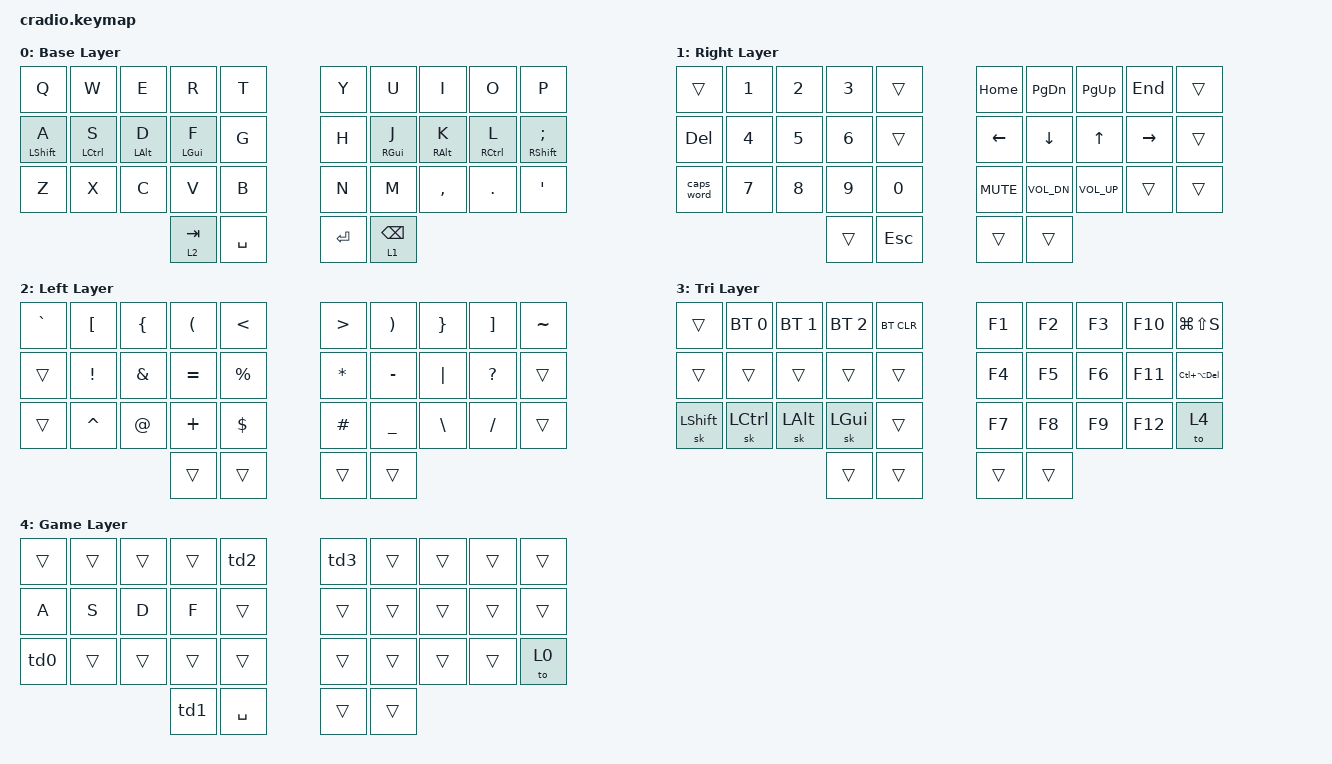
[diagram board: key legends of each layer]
// Copyright (c) 2022 The ZMK Contributors
// SPDX-License-Identifier: MIT

#include <behaviors.dtsi>
#include <dt-bindings/zmk/keys.h>
#include <dt-bindings/zmk/bt.h>

&caps_word {
    continue-list = <UNDERSCORE MINUS BACKSPACE DELETE>;
};

&lt {
    tapping-term-ms = <175>;
    quick-tap-ms = <225>;
    require-prior-idle-ms = <100>;
};

/ {
    behaviors {
        ht: hold_tap {
            compatible = "zmk,behavior-hold-tap";
            #binding-cells = <2>;
            flavor = "tap-preferred";
            tapping-term-ms = <175>;
            quick-tap-ms = <225>;
            require-prior-idle-ms = <125>;
            bindings = <&kp>, <&kp>;
        };
        td0: tap_dance_0 {
            compatible = "zmk,behavior-tap-dance";
            #binding-cells = <0>;
            bindings = <&kp LSHFT>, <&kp Z>;
        };
        td1: tap_dance_1 {
            compatible = "zmk,behavior-tap-dance";
            #binding-cells = <0>;
            bindings = <&kp LCTRL>, <&kp LALT>;
        };
        td2: tap_dance_2 {
            compatible = "zmk,behavior-tap-dance";
            #binding-cells = <0>;
            bindings = <&kp ESC>, <&kp T>;
        };
        td3: tap_dance_3 {
            compatible = "zmk,behavior-tap-dance";
            #binding-cells = <0>;
            bindings = <&mc_home>, <&kp Y>;
        };
    };

    conditional_layers {
        compatible = "zmk,conditional-layers";
        tri_layer {
            if-layers = <1 2>;
            then-layer = <3>;
        };
    };
    
    macros {
        mc_home: minecraft_home {
            compatible = "zmk,behavior-macro";
            #binding-cells = <0>;
            bindings = <&macro_tap &kp T &kp FSLH &kp H &kp O &kp M &kp E &kp ENTER>;
        };
    };

    keymap {
        compatible = "zmk,keymap";
        base_layer {
            display-name = "Base Layer";
            bindings = <
        //╭─────────────┬─────────────┬────────────┬────────────┬───────────╮   ╭───────────┬───────────────┬────────────┬─────────────┬────────────────╮
        //│ Q           │ W           │ E          │ R          │ T         │   │ Y         │ U             │ I          │ O           │ P              │
            &kp Q         &kp W         &kp E        &kp R        &kp T           &kp Y       &kp U           &kp I        &kp O         &kp P
        //├─────────────┼─────────────┼────────────┼────────────┼───────────┤   ├───────────┼───────────────┼────────────┼─────────────┼────────────────┤
        //│ A (Shift)   │ S (Ctrl)    │ D (Alt)    │ F (Super)  │ G         │   │ H         │ J (Super)     │ K (Alt)    │ L (Ctrl)    │ ; : (Shift)    │
            &ht LSHFT A   &ht LCTRL S   &ht LALT D   &ht LGUI F   &kp G           &kp H       &ht RGUI J      &ht RALT K   &ht RCTRL L   &ht RSHFT SEMI
        //├─────────────┼─────────────┼────────────┼────────────┼───────────┤   ├───────────┼───────────────┼────────────┼─────────────┼────────────────┤
        //│ Z           │ X           │ C          │ V          │ B         │   │ N         │ M             │ , <        │ . >         │ ' "            │
            &kp Z         &kp X         &kp C        &kp V        &kp B           &kp N       &kp M           &kp COMMA    &kp DOT       &kp SQT
        //╰─────────────┴─────────────┴────────────┼────────────┼───────────┤   ├───────────┼───────────────┼────────────┴─────────────┴────────────────╯
        //                                         │ Tab (2)    │ Space     │   │ Enter     │ Backspace (1) │
                                                     &lt 2 TAB    &kp SPACE       &kp ENTER   &lt 1 BSPC
        //                                         ╰────────────┴───────────╯   ╰───────────┴───────────────╯
            >;
        };

        right_layer {
            display-name = "Right Layer";
            bindings = <
        //╭────────────┬──────────┬──────────┬──────────┬──────────╮   ╭────────────┬──────────────┬──────────────┬───────────┬────────╮
        //│            │ 1        │ 2        │ 3        │          │   │ Home       │ Pg Dn        │ Pg Up        │ End       │        │
            &trans       &kp N1     &kp N2     &kp N3     &trans         &kp HOME     &kp PG_DN      &kp PG_UP      &kp END     &trans
        //├────────────┼──────────┼──────────┼──────────┼──────────┤   ├────────────┼──────────────┼──────────────┼───────────┼────────┤
        //│ Delete     │ 4        │ 5        │ 6        │          │   │ Left       │ Down         │ Up           │ Right     │        │
            &kp DEL      &kp N4     &kp N5     &kp N6     &trans         &kp LEFT     &kp DOWN       &kp UP         &kp RIGHT   &trans
        //├────────────┼──────────┼──────────┼──────────┼──────────┤   ├────────────┼──────────────┼──────────────┼───────────┼────────┤
        //│ Caps       │ 7        │ 8        │ 9        │ 0        │   │ Mute       │ Vol Down     │ Vol Up       │           │        │
            &caps_word   &kp N7     &kp N8     &kp N9     &kp N0         &kp C_MUTE   &kp C_VOL_DN   &kp C_VOL_UP   &trans      &trans
        //╰────────────┴──────────┴──────────┼──────────┼──────────┤   ├────────────┼──────────────┼──────────────┴───────────┴────────╯
        //                                   │          │ Escape   │   │            │              │
                                               &trans     &kp ESC        &trans       &trans
        //                                   ╰──────────┴──────────╯   ╰────────────┴──────────────╯
            >;
        };
        
        left_layer {
            display-name = "Left Layer";
            bindings = <
        //╭───────────┬───────────┬──────────┬───────────┬───────────╮   ╭───────────┬───────────┬──────────┬───────────┬───────────╮
        //│ `         │ [         │ {        │ (         │ <         │   │ >         │ )         │ }        │ ]         │ ~         │
            &kp GRAVE   &kp LBKT    &kp LBRC   &kp LPAR    &kp LT          &kp GT      &kp RPAR    &kp RBRC   &kp RBKT    &kp TILDE
        //├───────────┼───────────┼──────────┼───────────┼───────────┤   ├───────────┼───────────┼──────────┼───────────┼───────────┤
        //│           │ !         │ &        │ =         │ %         │   │ *         │ -         │ |        │ ?         │           │
            &trans      &kp EXCL    &kp AMPS   &kp EQUAL   &kp PRCNT       &kp ASTRK   &kp MINUS   &kp PIPE   &kp QMARK   &trans
        //├───────────┼───────────┼──────────┼───────────┼───────────┤   ├───────────┼───────────┼──────────┼───────────┼───────────┤
        //│           │ ^         │ @        │ +         │ $         │   │ #         │ _         │ \        │ /         │           │
            &trans      &kp CARET   &kp AT     &kp PLUS    &kp DLLR        &kp HASH    &kp UNDER   &kp BSLH   &kp FSLH    &trans
        //╰───────────┴───────────┴──────────┼───────────┼───────────┤   ├───────────┼───────────┼──────────┴───────────┴───────────╯
                                               &trans      &trans          &trans      &trans
        //                                   ╰───────────┴───────────╯   ╰───────────┴───────────╯
            >;
        };

        tri_layer {
            display-name = "Tri Layer";
            bindings = <
        //╭──────────────┬──────────────┬──────────────┬──────────────┬────────────╮   ╭──────────┬──────────┬──────────┬──────────┬─────────────────╮
        //│              │ Profile 0    │ Profile 1    │ Profile 2    │ BT Clear   │   │ F1       │ F2       │ F3       │ F10      │ "Print Screen"  │
            &trans         &bt BT_SEL 0   &bt BT_SEL 1   &bt BT_SEL 2   &bt BT_CLR       &kp F1     &kp F2     &kp F3     &kp F10    &kp LG(LS(S))
        //├──────────────┼──────────────┼──────────────┼──────────────┼────────────┤   ├──────────┼──────────┼──────────┼──────────┼─────────────────┤
        //│              │              │              │              │            │   │ F4       │ F5       │ F6       │ F11      │ Ctrl+Alt+Del    │
            &trans         &trans         &trans         &trans         &trans           &kp F4      &kp F5     &kp F6     &kp F11    &kp LC(LA(DEL))
        //├──────────────┼──────────────┼──────────────┼──────────────┼────────────┤   ├──────────┼──────────┼──────────┼──────────┼─────────────────┤
        //│ Sticky Shift │ Sticky Ctrl  │ Sticky Alt   │ Sticky Super │            │   │ F7       │ F8       │ F9       │ F12      │ To layer 4      │
            &sk LSHFT      &sk LCTRL      &sk LALT       &sk LGUI       &trans           &kp F7     &kp F8     &kp F9     &kp F12    &to 4
        //╰──────────────┴──────────────┴──────────────┼──────────────┼────────────┤   ├──────────┴──────────┼──────────┼──────────┴─────────────────╯
                                                         &trans         &trans           &trans     &trans
        //                                             ╰──────────────┴────────────╯   ╰──────────┴──────────╯
            >;
        };
        
        game_layer {
            display-name = "Game Layer";
            bindings = <
        //╭───────────┬────────┬────────┬────────────┬────────────╮   ╭───────────┬──────────┬──────────┬──────────┬────────────╮
        //│           │        │        │            │ Escape (T) │   │ /home (Y) │          │          │          │            │
            &trans      &trans   &trans   &trans       &td2             &td3        &trans     &trans     &trans     &trans
        //├───────────┼────────┼────────┼────────────┼────────────┤   ├───────────┼──────────┼──────────┼──────────┼────────────┤
        //│ A         │ S      │ D      │ F          │            │   │           │          │          │          │            │
            &kp A       &kp S    &kp D    &kp F        &trans           &trans      &trans     &trans     &trans     &trans
        //├───────────┼────────┼────────┼────────────┼────────────┤   ├───────────┼──────────┼──────────┼──────────┼────────────┤
        //│ Shift (Z) │        │        │            │            │   │           │          │          │          │ To layer 0 │
            &td0        &trans   &trans   &trans       &trans           &trans      &trans     &trans     &trans     &to 0
        //╰───────────┴────────┴────────┼────────────┼────────────┤   ├───────────┴──────────┼──────────┼──────────┴────────────╯
        //                              │ Ctrl (Alt) │ Space      │   │           │          │
                                          &td1         &kp SPACE        &trans      &trans
        //                              ╰────────────┴────────────╯   ╰───────────┴──────────╯
            >;
        };
    };
};
